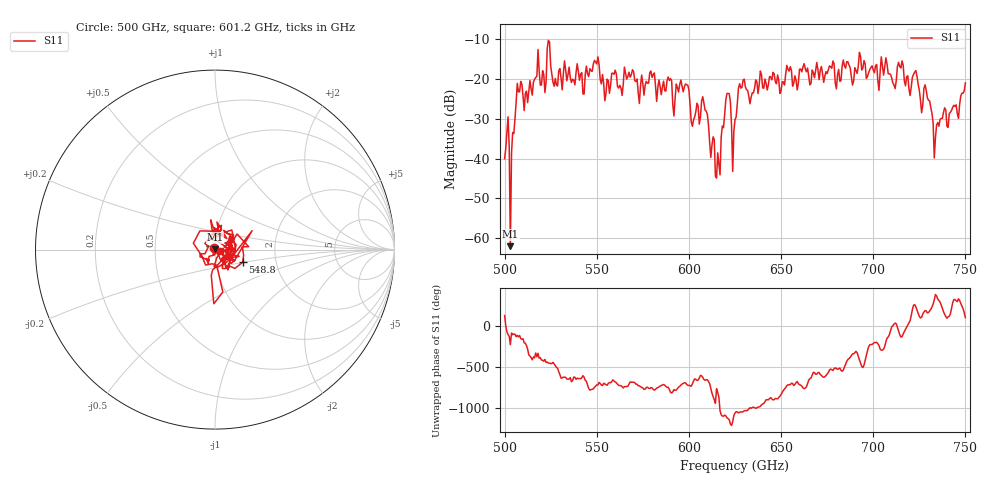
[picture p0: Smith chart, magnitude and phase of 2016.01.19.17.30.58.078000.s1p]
!Created with skrf (http://scikit-rf.org).
# GHz S RI R 50.0
!freq ReS11 ImS11
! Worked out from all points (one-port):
!   401 points, 500 GHz to 750 GHz, reference 50 ohm
!   lowest |S11| = -62.0 dB at 503.1 GHz (marker M1), VSWR 1.00, Z = 49.9 + j0.0595 ohm
!   |S11| at or under -10 dB: start of sweep to end of sweep
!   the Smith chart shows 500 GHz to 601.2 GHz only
!   S11 on the Smith chart (normalised r, x): 500 GHz: 0.99, +0.02; 548.8 GHz: 1.35, -0.20; 601.2 GHz: 1.06, -0.01
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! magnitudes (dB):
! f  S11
! 500 GHz  -40.1
! 503.1 GHz  -62.0
! 504.4 GHz  -33.5
! 505.6 GHz  -30.1
! 508.1 GHz  -23.3
! 521.2 GHz  -18.9
! 524.4 GHz  -10.8
! 527.5 GHz  -19.9
! 531.2 GHz  -22.8
! 548.8 GHz  -15.4
! 562.5 GHz  -21.7
! 568.8 GHz  -19.0
! 593.8 GHz  -22.2
! 598.8 GHz  -21.5
! 601.2 GHz  -30.8
! 608.1 GHz  -26.1
! 615.6 GHz  -38.6
! 620.6 GHz  -23.7
! 625 GHz  -30.3
! 628.8 GHz  -22.2
! 656.2 GHz  -21.9
! 687.5 GHz  -17.3
! 711.2 GHz  -21.6
! 715 GHz  -17.3
! 718.8 GHz  -19.3
! 728.8 GHz  -22.9
! 734.4 GHz  -31.6
! 750 GHz  -21.0
